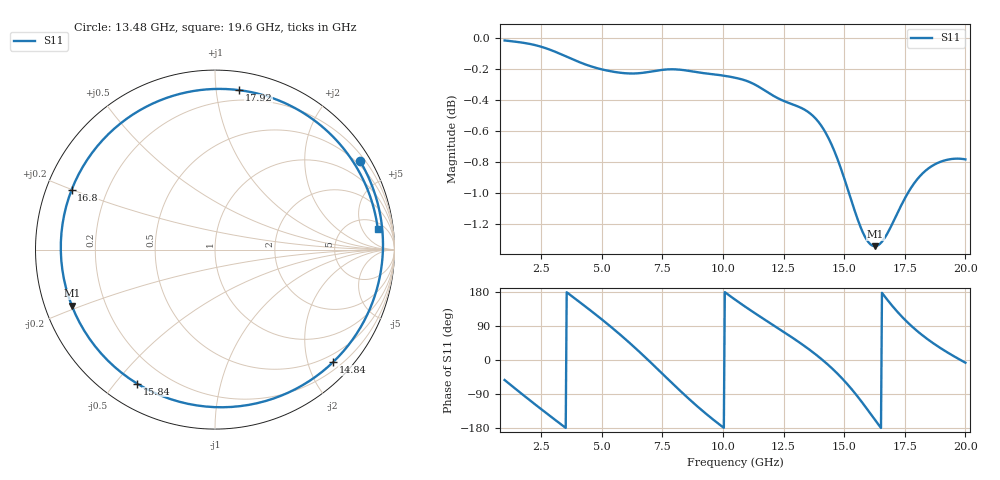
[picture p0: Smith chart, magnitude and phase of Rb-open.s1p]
! Touchstone file from project TestMultiLine
! Exported from HFSS 14.0.0
! Variables:
!  gap = 0mm
!  hair = 35mm
!  hsub = 0.762mm
!  l = 28mm
!  lair = 40mm
!  lmic = 14mm
!  w = 25mm
!  wair = 40mm
!  wmic = 2.1mm
!Data is not renormalized
# GHZ S MA
! Modal data exported
! Port[1] = 1:1
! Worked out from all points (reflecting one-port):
!   476 points, 1 GHz to 20 GHz, reference per port
!   lowest |S11| = -1.3 dB at 16.28 GHz (marker M1), VSWR 12.98
!   phase of S11 starts at -53 deg and turns -1034 deg over the sweep
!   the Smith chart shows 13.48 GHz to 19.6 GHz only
!   S11 on the Smith chart (normalised r, x): 13.48 GHz: 0.37, +3.51; 14.84 GHz: 0.34, -2.47; 15.84 GHz: 0.10, -0.57; 16.8 GHz: 0.07, +0.20; 17.92 GHz: 0.13, +1.15; 19.6 GHz: 8, +11
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1  0.9981 -52.8
2.08  0.9953 -108.3
2.76  0.992 -142.1
3.4  0.9874 -173.4
4.04  0.9825 155.5
4.76  0.978 119.8
5.76  0.9745 67.2
6.4  0.974 30.9
6.96  0.9751 -2.6
7.52  0.9766 -37.1
8.16  0.9768 -76.5
8.72  0.9755 -109.5
9.4  0.9737 -146.9
10.52  0.9708 158.6
11.72  0.9618 106.7
12.88  0.9518 58.4
13.48  0.947 31.5
14.2  0.9331 -4.9
14.84  0.9089 -43.5
15.28  0.8873 -74.7
15.84  0.8635 -120.2
16.28  0.8569 -158.6
16.8  0.8655 157.3
17.64  0.8917 97.8
17.92  0.8985 81.5
18.76  0.9107 40.4
19.6  0.9143 7.2
20  0.9138 -7.1
